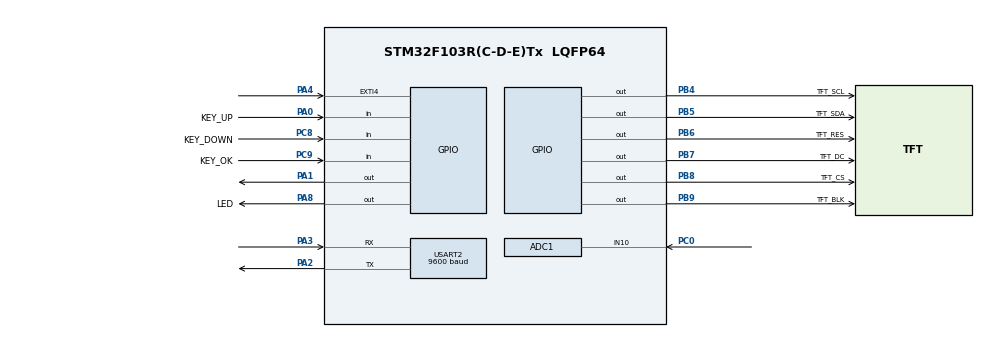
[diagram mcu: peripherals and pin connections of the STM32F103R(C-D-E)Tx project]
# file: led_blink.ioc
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ADC1.Channel-0\#ChannelRegularConversion=ADC_CHANNEL_10
ADC1.NbrOfConversionFlag=1
ADC1.Rank-0\#ChannelRegularConversion=1
ADC1.SamplingTime-0\#ChannelRegularConversion=ADC_SAMPLETIME_239CYCLES_5
ADC1.master=1
Mcu.Family=STM32F1
Mcu.Name=STM32F103R(C-D-E)Tx
Mcu.Package=LQFP64
NVIC.EXTI4_IRQn=true\:0\:0\:false\:false\:true\:true\:true\:true
NVIC.PriorityGroup=NVIC_PRIORITYGROUP_4
PA0.GPIO_Label=KEY_UP
PA0.GPIO_PuPd=GPIO_PULLUP
PA0.Signal=GPIO_Input
PA1.Signal=GPIO_Output
PA2.Mode=Asynchronous
PA2.Signal=USART2_TX
PA3.Mode=Asynchronous
PA3.Signal=USART2_RX
PA4.GPIO_ModeDefaultEXTI=GPIO_MODE_IT_RISING_FALLING
PA4.GPIO_PuPd=GPIO_NOPULL
PA4.Signal=GPXTI4
PA8.GPIO_Label=LED
PA8.Signal=GPIO_Output
PB4.GPIO_Label=TFT_SCL
PB4.Signal=GPIO_Output
PB5.GPIO_Label=TFT_SDA
PB5.Signal=GPIO_Output
PB6.GPIO_Label=TFT_RES
PB6.Signal=GPIO_Output
PB7.GPIO_Label=TFT_DC
PB7.Signal=GPIO_Output
PB8.GPIO_Label=TFT_CS
PB8.Signal=GPIO_Output
PB9.GPIO_Label=TFT_BLK
PB9.Signal=GPIO_Output
PC0.Signal=ADCx_IN10
PC8.GPIO_Label=KEY_DOWN
PC8.GPIO_PuPd=GPIO_PULLUP
PC8.Signal=GPIO_Input
PC9.GPIO_Label=KEY_OK
PC9.GPIO_PuPd=GPIO_PULLUP
PC9.Signal=GPIO_Input
ProjectManager.HeapSize=0x200
ProjectManager.StackSize=0x400
ProjectManager.TargetToolchain=CMake
RCC.APB1Freq_Value=8000000
RCC.APB2Freq_Value=8000000
SH.ADCx_IN10.0=ADC1_IN10,IN10
TIM2.Prescaler=7
USART2.BaudRate=9600
USART2.VirtualMode=VM_ASYNC
VP_SYS_VS_ND.Mode=No_Debug
VP_TIM2_VS_ClockSourceINT.Mode=Internal
board=custom

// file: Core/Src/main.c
/* USER CODE BEGIN Header */
/**
  ******************************************************************************
  * @file           : main.c
  * @brief          : Main program body
  ******************************************************************************
  * @attention
  *
  * Copyright (c) 2026 STMicroelectronics.
  * All rights reserved.
  *
  * This software is licensed under terms that can be found in the LICENSE file
  * in the root directory of this software component.
  * If no LICENSE file comes with this software, it is provided AS-IS.
  *
  ******************************************************************************
  */
/* USER CODE END Header */
#include "main.h"

/* USER CODE BEGIN Includes */
#include "st7735.h"
#include "ui_menu.h"
#include <stdio.h>
#include <string.h>

/* USER CODE END Includes */

/* USER CODE BEGIN PD */
#define WATER_ALARM_THRESHOLD  1000U
#define WATER_SAMPLE_COUNT     8U
#define VIBRATION_HOLD_MS      5000U
#define HMI_KEY_PRESSED         GPIO_PIN_RESET
#define HMI_LONG_PRESS_MS       700U
#define DHT11_SAMPLE_INTERVAL_MS 2000U
#define BLUETOOTH_SEND_INTERVAL_MS 2000U
#define UI_REFRESH_INTERVAL_MS  50U
#define MAIN_LOOP_DELAY_MS      20U
/* USER CODE END PD */

ADC_HandleTypeDef hadc1;

TIM_HandleTypeDef htim2;

UART_HandleTypeDef huart2;

/* USER CODE BEGIN PV */
static volatile uint32_t vibration_alarm_until = 0U;
/* USER CODE END PV */

void SystemClock_Config(void);
static void MX_GPIO_Init(void);
static void MX_TIM2_Init(void);
static void MX_ADC1_Init(void);
static void MX_USART2_UART_Init(void);

/* USER CODE BEGIN 0 */
static void DHT11_DelayUs(uint16_t us)
{
  __HAL_TIM_SET_COUNTER(&htim2, 0);
  while (__HAL_TIM_GET_COUNTER(&htim2) < us) {}
}

static void DHT11_SetOutput(void)
{
  GPIO_InitTypeDef GPIO_InitStruct = {0};

  GPIO_InitStruct.Pin = GPIO_PIN_1;
  GPIO_InitStruct.Mode = GPIO_MODE_OUTPUT_OD;
  GPIO_InitStruct.Pull = GPIO_NOPULL;
  GPIO_InitStruct.Speed = GPIO_SPEED_FREQ_LOW;
  HAL_GPIO_Init(GPIOA, &GPIO_InitStruct);
}

static void DHT11_SetInput(void)
{
  GPIO_InitTypeDef GPIO_InitStruct = {0};

  GPIO_InitStruct.Pin = GPIO_PIN_1;
  GPIO_InitStruct.Mode = GPIO_MODE_INPUT;
  GPIO_InitStruct.Pull = GPIO_NOPULL;
  HAL_GPIO_Init(GPIOA, &GPIO_InitStruct);
}

static uint8_t DHT11_WaitFor(GPIO_PinState state, uint16_t timeout_us)
{
  __HAL_TIM_SET_COUNTER(&htim2, 0);

  while (HAL_GPIO_ReadPin(GPIOA, GPIO_PIN_1) != state)
  {
    if (__HAL_TIM_GET_COUNTER(&htim2) >= timeout_us)
    {
      return 0;
    }
  }
  return 1;
}

static uint8_t DHT11_Read(uint8_t *temperature, uint8_t *humidity)
{
  uint8_t data[5] = {0};
  uint8_t i, j;

  DHT11_SetOutput();
  HAL_GPIO_WritePin(GPIOA, GPIO_PIN_1, GPIO_PIN_RESET);
  HAL_Delay(20);
  HAL_GPIO_WritePin(GPIOA, GPIO_PIN_1, GPIO_PIN_SET);
  DHT11_DelayUs(30);
  DHT11_SetInput();

  if (!DHT11_WaitFor(GPIO_PIN_RESET, 150)) return 0;
  if (!DHT11_WaitFor(GPIO_PIN_SET,   150)) return 0;
  if (!DHT11_WaitFor(GPIO_PIN_RESET, 150)) return 0;

  for (i = 0; i < 5; i++)
  {
    for (j = 0; j < 8; j++)
    {
      if (!DHT11_WaitFor(GPIO_PIN_SET, 100)) return 0;

      DHT11_DelayUs(40);
      if (HAL_GPIO_ReadPin(GPIOA, GPIO_PIN_1) == GPIO_PIN_SET)
      {
        data[i] |= (1 << (7 - j));
      }

      if (!DHT11_WaitFor(GPIO_PIN_RESET, 100)) return 0;
    }
  }

  if (data[4] != (uint8_t)(data[0] + data[1] + data[2] + data[3]))
  {
    return 0;
  }

  *humidity = data[0];
  *temperature = data[2];
  return 1;
}

static uint8_t Water_ReadRaw(uint16_t *water_raw)
{
  uint32_t sum = 0;
  uint8_t valid_samples = 0;
  uint8_t i;

  for (i = 0; i < WATER_SAMPLE_COUNT; i++)
  {
    if (HAL_ADC_Start(&hadc1) != HAL_OK)
    {
      continue;
    }

    if (HAL_ADC_PollForConversion(&hadc1, 10) == HAL_OK)
    {
      sum += HAL_ADC_GetValue(&hadc1);
      valid_samples++;
    }

    HAL_ADC_Stop(&hadc1);
  }

  if (valid_samples == 0U)
  {
    *water_raw = 0U;
    return 0U;
  }

  *water_raw = (uint16_t)(sum / valid_samples);
  return 1U;
}

static void Bluetooth_SendTelemetry(uint8_t temperature,
                                    uint8_t humidity,
                                    uint16_t water_raw,
                                    uint8_t dht_ok,
                                    uint8_t water_ok,
                                    uint8_t vibration_alarm)
{
  char json[512];
  int length;
  static uint32_t telemetry_sequence = 0U;

  telemetry_sequence++;

  length = snprintf(
    json, sizeof(json),
    "{\"schema\":\"ut.telemetry.v1\",\"seq\":%lu,"
    "\"readings\":["
    "{\"assetCode\":\"ENV-01\",\"metric\":\"temperature\","
    "\"value\":%u,\"unit\":\"degC\",\"quality\":\"%s\"},"
    "{\"assetCode\":\"ENV-01\",\"metric\":\"humidity\","
    "\"value\":%u,\"unit\":\"%%RH\",\"quality\":\"%s\"},"
    "{\"assetCode\":\"SEEP-W01\",\"metric\":\"water.raw\","
    "\"value\":%u,\"unit\":\"adc\",\"quality\":\"%s\"},"
    "{\"assetCode\":\"CTRL-01\",\"metric\":\"vibration.alarm\","
    "\"value\":%u,\"unit\":\"bool\",\"quality\":\"good\"}"
    "]}\r\n",
    (unsigned long)telemetry_sequence,
    temperature, dht_ok ? "good" : "bad",
    humidity, dht_ok ? "good" : "bad",
    water_raw, water_ok ? "good" : "missing", vibration_alarm
  );

  if ((length > 0) && (length < (int)sizeof(json)))
  {
    (void)HAL_UART_Transmit(&huart2, (uint8_t *)json, (uint16_t)length, 1000U);
  }

}

/*
 * Temporary board-key adapter. PA0/PC8/PC9 are the exposed K2/K3/K4 keys on
 * this board. When the joystick is wired, replace only this adapter with the
 * joystick GPIO/ADC reader; the UI menu continues to use UiInput unchanged.
 */
static UiInput HMI_ReadInput(void)
{
  static uint8_t up_latched;
  static uint8_t down_latched;
  static uint8_t ok_latched;
  static uint32_t ok_pressed_at;

  if (HAL_GPIO_ReadPin(GPIOA, GPIO_PIN_0) == HMI_KEY_PRESSED)
  {
    if (!up_latched)
    {
      up_latched = 1U;
      return UI_INPUT_UP;
    }
  }
  else
  {
    up_latched = 0U;
  }

  if (HAL_GPIO_ReadPin(GPIOC, GPIO_PIN_8) == HMI_KEY_PRESSED)
  {
    if (!down_latched)
    {
      down_latched = 1U;
      return UI_INPUT_DOWN;
    }
  }
  else
  {
    down_latched = 0U;
  }

  if (HAL_GPIO_ReadPin(GPIOC, GPIO_PIN_9) == HMI_KEY_PRESSED)
  {
    if (!ok_latched)
    {
      ok_latched = 1U;
      ok_pressed_at = HAL_GetTick();
    }
  }
  else if (ok_latched)
  {
    ok_latched = 0U;
    return ((HAL_GetTick() - ok_pressed_at) >= HMI_LONG_PRESS_MS) ? UI_INPUT_BACK : UI_INPUT_OK;
  }

  return UI_INPUT_NONE;
}

#if 0
/* Previous local TFT implementation kept here temporarily for comparison.
 * The active implementation is the verified external st7735.c driver. */
/* 1.44-inch 128x128 TFT (ST7735S, board OLED/TFT socket)
 * Socket mapping: SCL=PB4, SDA=PB5, RES=PB6, DC=PB7, CS=PB8, BLK=PB9.
 * These are not SPI2 pins, therefore the display uses software SPI here. */
#define TFT_CS_LOW()   HAL_GPIO_WritePin(GPIOB, GPIO_PIN_8, GPIO_PIN_RESET)
#define TFT_CS_HIGH()  HAL_GPIO_WritePin(GPIOB, GPIO_PIN_8, GPIO_PIN_SET)
#define TFT_DC_LOW()   HAL_GPIO_WritePin(GPIOB, GPIO_PIN_7, GPIO_PIN_RESET)
#define TFT_DC_HIGH()  HAL_GPIO_WritePin(GPIOB, GPIO_PIN_7, GPIO_PIN_SET)
#define TFT_RST_LOW()  HAL_GPIO_WritePin(GPIOB, GPIO_PIN_6, GPIO_PIN_RESET)
#define TFT_RST_HIGH() HAL_GPIO_WritePin(GPIOB, GPIO_PIN_6, GPIO_PIN_SET)
#define TFT_BLK_HIGH() HAL_GPIO_WritePin(GPIOB, GPIO_PIN_9, GPIO_PIN_SET)

#define TFT_BLACK  0x0000
#define TFT_WHITE  0xFFFF
#define TFT_GREEN  0x07E0
#define TFT_RED    0xF800
#define TFT_CYAN   0x07FF

static void TFT_WriteByte(uint8_t value)
{
  uint8_t bit;

  for (bit = 0; bit < 8; bit++)
  {
    HAL_GPIO_WritePin(GPIOB, GPIO_PIN_4, GPIO_PIN_RESET);
    HAL_GPIO_WritePin(GPIOB, GPIO_PIN_5,
                      (value & 0x80U) ? GPIO_PIN_SET : GPIO_PIN_RESET);
    value <<= 1;
    HAL_GPIO_WritePin(GPIOB, GPIO_PIN_4, GPIO_PIN_SET);
  }
}

static void TFT_WriteCommand(uint8_t command)
{
  TFT_DC_LOW();
  TFT_WriteByte(command);
}

static void TFT_WriteData(const uint8_t *data, uint16_t length)
{
  TFT_DC_HIGH();
  while (length--)
  {
    TFT_WriteByte(*data++);
  }
}

static void TFT_SetAddressWindow(uint8_t x0, uint8_t y0, uint8_t x1, uint8_t y1)
{
  uint8_t data[4];

  TFT_WriteCommand(0x2A);
  data[0] = 0; data[1] = x0 + 2; data[2] = 0; data[3] = x1 + 2;
  TFT_WriteData(data, 4);

  TFT_WriteCommand(0x2B);
  data[0] = 0; data[1] = y0 + 3; data[2] = 0; data[3] = y1 + 3;
  TFT_WriteData(data, 4);
  TFT_WriteCommand(0x2C);
}

static void TFT_FillScreen(uint16_t color)
{
  uint8_t data[64];
  uint16_t i;

  for (i = 0; i < sizeof(data); i += 2)
  {
    data[i] = color >> 8;
    data[i + 1] = color & 0xFF;
  }

  TFT_SetAddressWindow(0, 0, 127, 127);
  TFT_DC_HIGH();
  for (i = 0; i < 512; i++)
  {
    uint8_t j;
    for (j = 0; j < sizeof(data); j++) TFT_WriteByte(data[j]);
  }
}

static uint8_t TFT_Glyph(char ch, uint8_t column)
{
  static const uint8_t digits[10][5] = {
    {0x3E, 0x51, 0x49, 0x45, 0x3E}, {0x00, 0x42, 0x7F, 0x40, 0x00},
    {0x42, 0x61, 0x51, 0x49, 0x46}, {0x21, 0x41, 0x45, 0x4B, 0x31},
    {0x18, 0x14, 0x12, 0x7F, 0x10}, {0x27, 0x45, 0x45, 0x45, 0x39},
    {0x3C, 0x4A, 0x49, 0x49, 0x30}, {0x01, 0x71, 0x09, 0x05, 0x03},
    {0x36, 0x49, 0x49, 0x49, 0x36}, {0x06, 0x49, 0x49, 0x29, 0x1E}
  };
  static const uint8_t t[5] = {0x01, 0x01, 0x7F, 0x01, 0x01};
  static const uint8_t h[5] = {0x7F, 0x08, 0x04, 0x04, 0x78};
  static const uint8_t c[5] = {0x3E, 0x41, 0x41, 0x41, 0x22};
  static const uint8_t e[5] = {0x38, 0x54, 0x54, 0x54, 0x18};
  static const uint8_t r[5] = {0x7C, 0x08, 0x04, 0x04, 0x08};
  static const uint8_t percent[5] = {0x62, 0x64, 0x08, 0x13, 0x23};
  static const uint8_t colon[5] = {0x00, 0x36, 0x36, 0x00, 0x00};
  static const uint8_t space[5] = {0, 0, 0, 0, 0};

  if (ch >= '0' && ch <= '9') return digits[ch - '0'][column];
  if (ch == 'T') return t[column];
  if (ch == 'H') return h[column];
  if (ch == 'C') return c[column];
  if (ch == 'E') return e[column];
  if (ch == 'R') return r[column];
  if (ch == '%') return percent[column];
  if (ch == ':') return colon[column];
  return space[column];
}

static void TFT_DrawChar(uint8_t x, uint8_t y, char ch, uint16_t color, uint8_t scale)
{
  uint8_t column, row, dx, dy, pixel[2];

  pixel[0] = color >> 8;
  pixel[1] = color & 0xFF;
  for (column = 0; column < 5; column++)
  {
    uint8_t bits = TFT_Glyph(ch, column);
    for (row = 0; row < 7; row++)
    {
      if ((bits >> row) & 1U)
      {
        TFT_SetAddressWindow(x + column * scale, y + row * scale,
                             x + column * scale + scale - 1, y + row * scale + scale - 1);
        TFT_DC_HIGH();
        for (dx = 0; dx < scale; dx++)
          for (dy = 0; dy < scale; dy++)
          {
            TFT_WriteByte(pixel[0]);
            TFT_WriteByte(pixel[1]);
          }
      }
    }
  }
}

static void TFT_Print(uint8_t x, uint8_t y, const char *text, uint16_t color, uint8_t scale)
{
  while (*text != '\0')
  {
    TFT_DrawChar(x, y, *text++, color, scale);
    x += 6 * scale;
  }
}

static void TFT_Init(void)
{
  static const uint8_t frmctr[] = {0x01, 0x2C, 0x2D};
  static const uint8_t frmctr3[] = {0x01, 0x2C, 0x2D, 0x01, 0x2C, 0x2D};
  static const uint8_t pwctr1[] = {0xA2, 0x02, 0x84};
  static const uint8_t pwctr3[] = {0x0A, 0x00};
  static const uint8_t pwctr4[] = {0x8A, 0x2A};
  static const uint8_t pwctr5[] = {0x8A, 0xEE};
  static const uint8_t value_07[] = {0x07};
  static const uint8_t value_c5[] = {0xC5};
  static const uint8_t value_0e[] = {0x0E};
  static const uint8_t madctl[] = {0xC8};
  static const uint8_t color_mode[] = {0x05};

  /* The verified board driver keeps CS asserted for the whole session. */
  TFT_CS_LOW();
  TFT_DC_HIGH();
  TFT_BLK_HIGH();
  TFT_RST_LOW();  HAL_Delay(20);
  TFT_RST_HIGH(); HAL_Delay(120);
  TFT_WriteCommand(0x01); HAL_Delay(150);       /* SWRESET */
  TFT_WriteCommand(0x11); HAL_Delay(120);       /* SLPOUT  */
  TFT_WriteCommand(0xB1); TFT_WriteData(frmctr, 3);
  TFT_WriteCommand(0xB2); TFT_WriteData(frmctr, 3);
  TFT_WriteCommand(0xB3); TFT_WriteData(frmctr3, 6);
  TFT_WriteCommand(0xB4); TFT_WriteData(value_07, 1);
  TFT_WriteCommand(0xC0); TFT_WriteData(pwctr1, 3);
  TFT_WriteCommand(0xC1); TFT_WriteData(value_c5, 1);
  TFT_WriteCommand(0xC2); TFT_WriteData(pwctr3, 2);
  TFT_WriteCommand(0xC3); TFT_WriteData(pwctr4, 2);
  TFT_WriteCommand(0xC4); TFT_WriteData(pwctr5, 2);
  TFT_WriteCommand(0xC5); TFT_WriteData(value_0e, 1);
  TFT_WriteCommand(0x20);                         /* INVOFF */
  TFT_WriteCommand(0x36); TFT_WriteData(madctl, 1);
  TFT_WriteCommand(0x3A); TFT_WriteData(color_mode, 1);
  TFT_WriteCommand(0x13);                         /* NORON  */
  TFT_WriteCommand(0x29); HAL_Delay(100);         /* DISPON */
}

static void TFT_ShowValues(uint8_t temperature, uint8_t humidity)
{
  char temperature_text[] = {'T', ':', '0' + temperature / 10,
                             '0' + temperature % 10, 'C', '\0'};
  char humidity_text[] = {'H', ':', '0' + humidity / 10,
                          '0' + humidity % 10, '%', '\0'};

  TFT_FillScreen(TFT_BLACK);
  TFT_Print(16, 30, temperature_text, TFT_GREEN, 3);
  TFT_Print(16, 75, humidity_text, TFT_CYAN, 3);
}

/* Visual wiring check: the backlight must blink three times after reset. */
static void TFT_BacklightTest(void)
{
  uint8_t i;
  for (i = 0; i < 3; i++)
  {
    HAL_GPIO_WritePin(GPIOB, GPIO_PIN_9, GPIO_PIN_SET);
    HAL_Delay(300);
    HAL_GPIO_WritePin(GPIOB, GPIO_PIN_9, GPIO_PIN_RESET);
    HAL_Delay(300);
  }
  TFT_BLK_HIGH();
}
#endif

/* The original raw value view is retained as reference; UI_Menu now renders
 * the operational dashboard and menus. */
#if 0
static void LCD_ShowValues(uint8_t temperature, uint8_t humidity,
                           uint16_t water_raw, uint8_t dht_ok,
                           uint8_t water_ok,
                           uint8_t vibration_alarm)
{
  char temperature_text[] = {'T', ':', '0' + temperature / 10,
                             '0' + temperature % 10, 'C', ' ', ' ', ' ',
                             ' ', ' ', ' ', '\0'};
  char humidity_text[] = {'H', ':', '0' + humidity / 10,
                          '0' + humidity % 10, '%', ' ', ' ', ' ',
                          ' ', ' ', ' ', '\0'};
  char water_text[] = {'W', ':',
                       '0' + (water_raw / 1000U) % 10U,
                       '0' + (water_raw / 100U) % 10U,
                       '0' + (water_raw / 10U) % 10U,
                       '0' + water_raw % 10U, ' ', ' ', ' ', ' ', ' ', '\0'};

  if (dht_ok)
  {
    ST7735_DrawString(8, 16, temperature_text, LCD_GREEN, LCD_BLACK);
    ST7735_DrawString(8, 40, humidity_text, LCD_CYAN, LCD_BLACK);
  }
  else
  {
    ST7735_DrawString(8, 16, "DHT ERR    ", LCD_RED, LCD_BLACK);
    ST7735_DrawString(8, 40, "           ", LCD_BLACK, LCD_BLACK);
  }

  if (!water_ok)
  {
    ST7735_DrawString(8, 64, "W: SENSOR ERR", LCD_RED, LCD_BLACK);
    ST7735_DrawString(8, 88, "WATER UNKNOWN", LCD_RED, LCD_BLACK);
  }
  else if (water_raw >= WATER_ALARM_THRESHOLD)
  {
    ST7735_DrawString(8, 64, water_text, LCD_WHITE, LCD_BLACK);
    ST7735_DrawString(8, 88, "WATER ALARM", LCD_RED, LCD_BLACK);
  }
  else
  {
    ST7735_DrawString(8, 64, water_text, LCD_WHITE, LCD_BLACK);
    ST7735_DrawString(8, 88, "WATER OK   ", LCD_GREEN, LCD_BLACK);
  }

  if (vibration_alarm)
  {
    ST7735_DrawString(8, 108, "VIB ALARM  ", LCD_RED, LCD_BLACK);
  }
  else
  {
    ST7735_DrawString(8, 108, "VIB OK     ", LCD_GREEN, LCD_BLACK);
  }
}
#endif
/* USER CODE END 0 */

int main(void)
{

  /* MCU Configuration--------------------------------------------------------*/

  /* Reset of all peripherals, Initializes the Flash interface and the Systick. */
  HAL_Init();

  /* Configure the system clock */
  SystemClock_Config();

  /* Initialize all configured peripherals */
  MX_GPIO_Init();
  MX_TIM2_Init();
  MX_ADC1_Init();
  MX_USART2_UART_Init();
  /* USER CODE BEGIN 2 */
  if (HAL_ADCEx_Calibration_Start(&hadc1) != HAL_OK)
  {
    Error_Handler();
  }
  {
    GPIO_InitTypeDef TFT_GPIO = {0};
    TFT_GPIO.Pin = GPIO_PIN_4 | GPIO_PIN_5 | GPIO_PIN_6 |
                   GPIO_PIN_7 | GPIO_PIN_8 | GPIO_PIN_9;
    TFT_GPIO.Mode = GPIO_MODE_OUTPUT_PP;
    TFT_GPIO.Pull = GPIO_NOPULL;
    TFT_GPIO.Speed = GPIO_SPEED_FREQ_HIGH;
    HAL_GPIO_Init(GPIOB, &TFT_GPIO);
    HAL_GPIO_WritePin(GPIOB, TFT_GPIO.Pin, GPIO_PIN_RESET);
  }
  HAL_TIM_Base_Start(&htim2);
  ST7735_Init();
  UI_MenuInit();
  uint8_t temperature = 0;
  uint8_t humidity = 0;
  uint8_t dht_ok = 0;
  uint32_t last_dht_read = HAL_GetTick() - DHT11_SAMPLE_INTERVAL_MS;
  uint32_t last_bluetooth_send = HAL_GetTick() - BLUETOOTH_SEND_INTERVAL_MS;
  uint32_t last_ui_update = HAL_GetTick() - UI_REFRESH_INTERVAL_MS;
  /* USER CODE END 2 */

  /* Infinite loop */
  while (1)
  {

    /* USER CODE BEGIN 3 */
    uint16_t water_raw;
    uint8_t water_ok;
    uint8_t vibration_alarm;

    if ((HAL_GetTick() - last_dht_read) >= DHT11_SAMPLE_INTERVAL_MS)
    {
      dht_ok = DHT11_Read(&temperature, &humidity);
      last_dht_read = HAL_GetTick();
      if (dht_ok)
      {
        HAL_GPIO_TogglePin(GPIOA, GPIO_PIN_8);
      }
    }

    water_ok = Water_ReadRaw(&water_raw);
    vibration_alarm = ((int32_t)(vibration_alarm_until - HAL_GetTick()) > 0) ? 1U : 0U;
    if ((HAL_GetTick() - last_ui_update) >= UI_REFRESH_INTERVAL_MS)
    {
      UiTelemetry uiTelemetry = {
        .temperature = temperature,
        .humidity = humidity,
        .waterRaw = water_raw,
        .dhtOk = dht_ok,
        .vibrationAlarm = vibration_alarm,
        .telemetryTxEnabled = 1U,
      };
      UI_MenuSetTelemetry(&uiTelemetry);
      last_ui_update = HAL_GetTick();
    }

    UI_MenuHandleInput(HMI_ReadInput());
    UI_MenuTick(HAL_GetTick());

    if ((HAL_GetTick() - last_bluetooth_send) >= BLUETOOTH_SEND_INTERVAL_MS)
    {
      Bluetooth_SendTelemetry(temperature, humidity, water_raw,
                              dht_ok, water_ok, vibration_alarm);
      last_bluetooth_send = HAL_GetTick();
    }
    HAL_Delay(MAIN_LOOP_DELAY_MS);
  }
  /* USER CODE END 3 */
}

void SystemClock_Config(void)
{
  RCC_OscInitTypeDef RCC_OscInitStruct = {0};
  RCC_ClkInitTypeDef RCC_ClkInitStruct = {0};
  RCC_PeriphCLKInitTypeDef PeriphClkInit = {0};

  /** Initializes the RCC Oscillators according to the specified parameters
  * in the RCC_OscInitTypeDef structure.
  */
  RCC_OscInitStruct.OscillatorType = RCC_OSCILLATORTYPE_HSI;
  RCC_OscInitStruct.HSIState = RCC_HSI_ON;
  RCC_OscInitStruct.HSICalibrationValue = RCC_HSICALIBRATION_DEFAULT;
  RCC_OscInitStruct.PLL.PLLState = RCC_PLL_NONE;
  if (HAL_RCC_OscConfig(&RCC_OscInitStruct) != HAL_OK)
  {
    Error_Handler();
  }

  /** Initializes the CPU, AHB and APB buses clocks
  */
  RCC_ClkInitStruct.ClockType = RCC_CLOCKTYPE_HCLK|RCC_CLOCKTYPE_SYSCLK
                              |RCC_CLOCKTYPE_PCLK1|RCC_CLOCKTYPE_PCLK2;
  RCC_ClkInitStruct.SYSCLKSource = RCC_SYSCLKSOURCE_HSI;
  RCC_ClkInitStruct.AHBCLKDivider = RCC_SYSCLK_DIV1;
  RCC_ClkInitStruct.APB1CLKDivider = RCC_HCLK_DIV1;
  RCC_ClkInitStruct.APB2CLKDivider = RCC_HCLK_DIV1;

  if (HAL_RCC_ClockConfig(&RCC_ClkInitStruct, FLASH_LATENCY_0) != HAL_OK)
  {
    Error_Handler();
  }
  PeriphClkInit.PeriphClockSelection = RCC_PERIPHCLK_ADC;
  PeriphClkInit.AdcClockSelection = RCC_ADCPCLK2_DIV2;
  if (HAL_RCCEx_PeriphCLKConfig(&PeriphClkInit) != HAL_OK)
  {
    Error_Handler();
  }
}

static void MX_ADC1_Init(void)
{

  ADC_ChannelConfTypeDef sConfig = {0};

  /** Common config
  */
  hadc1.Instance = ADC1;
  hadc1.Init.ScanConvMode = ADC_SCAN_DISABLE;
  hadc1.Init.ContinuousConvMode = DISABLE;
  hadc1.Init.DiscontinuousConvMode = DISABLE;
  hadc1.Init.ExternalTrigConv = ADC_SOFTWARE_START;
  hadc1.Init.DataAlign = ADC_DATAALIGN_RIGHT;
  hadc1.Init.NbrOfConversion = 1;
  if (HAL_ADC_Init(&hadc1) != HAL_OK)
  {
    Error_Handler();
  }

  /** Configure Regular Channel
  */
  sConfig.Channel = ADC_CHANNEL_10;
  sConfig.Rank = ADC_REGULAR_RANK_1;
  sConfig.SamplingTime = ADC_SAMPLETIME_239CYCLES_5;
  if (HAL_ADC_ConfigChannel(&hadc1, &sConfig) != HAL_OK)
  {
    Error_Handler();
  }

}

static void MX_USART2_UART_Init(void)
{
  huart2.Instance = USART2;
  huart2.Init.BaudRate = 9600;
  huart2.Init.WordLength = UART_WORDLENGTH_8B;
  huart2.Init.StopBits = UART_STOPBITS_1;
  huart2.Init.Parity = UART_PARITY_NONE;
  huart2.Init.Mode = UART_MODE_TX_RX;
  huart2.Init.HwFlowCtl = UART_HWCONTROL_NONE;
  huart2.Init.OverSampling = UART_OVERSAMPLING_16;
  if (HAL_UART_Init(&huart2) != HAL_OK)
  {
    Error_Handler();
  }
}

static void MX_TIM2_Init(void)
{

  TIM_ClockConfigTypeDef sClockSourceConfig = {0};
  TIM_MasterConfigTypeDef sMasterConfig = {0};

  htim2.Instance = TIM2;
  htim2.Init.Prescaler = 7;
  htim2.Init.CounterMode = TIM_COUNTERMODE_UP;
  htim2.Init.Period = 65535;
  htim2.Init.ClockDivision = TIM_CLOCKDIVISION_DIV1;
  htim2.Init.AutoReloadPreload = TIM_AUTORELOAD_PRELOAD_DISABLE;
  if (HAL_TIM_Base_Init(&htim2) != HAL_OK)
  {
    Error_Handler();
  }
  sClockSourceConfig.ClockSource = TIM_CLOCKSOURCE_INTERNAL;
  if (HAL_TIM_ConfigClockSource(&htim2, &sClockSourceConfig) != HAL_OK)
  {
    Error_Handler();
  }
  sMasterConfig.MasterOutputTrigger = TIM_TRGO_RESET;
  sMasterConfig.MasterSlaveMode = TIM_MASTERSLAVEMODE_DISABLE;
  if (HAL_TIMEx_MasterConfigSynchronization(&htim2, &sMasterConfig) != HAL_OK)
  {
    Error_Handler();
  }

}

static void MX_GPIO_Init(void)
{
  GPIO_InitTypeDef GPIO_InitStruct = {0};

  /* GPIO Ports Clock Enable */
  __HAL_RCC_GPIOC_CLK_ENABLE();
  __HAL_RCC_GPIOA_CLK_ENABLE();
  __HAL_RCC_GPIOB_CLK_ENABLE();

  /*Configure GPIO pin Output Level */
  HAL_GPIO_WritePin(GPIOA, GPIO_PIN_1|LED_Pin, GPIO_PIN_RESET);

  /*Configure GPIO pin Output Level */
  HAL_GPIO_WritePin(GPIOB, TFT_SCL_Pin|TFT_SDA_Pin|TFT_RES_Pin|TFT_DC_Pin
                          |TFT_CS_Pin|TFT_BLK_Pin, GPIO_PIN_RESET);

  /*Configure GPIO pins : PA1 LED_Pin */
  GPIO_InitStruct.Pin = GPIO_PIN_1|LED_Pin;
  GPIO_InitStruct.Mode = GPIO_MODE_OUTPUT_PP;
  GPIO_InitStruct.Pull = GPIO_NOPULL;
  GPIO_InitStruct.Speed = GPIO_SPEED_FREQ_LOW;
  HAL_GPIO_Init(GPIOA, &GPIO_InitStruct);

  /* Configure board keys K2/K3/K4 as temporary HMI Up/Down/OK inputs. */
  GPIO_InitStruct.Pin = GPIO_PIN_0;
  GPIO_InitStruct.Mode = GPIO_MODE_INPUT;
  GPIO_InitStruct.Pull = GPIO_PULLUP;
  HAL_GPIO_Init(GPIOA, &GPIO_InitStruct);

  GPIO_InitStruct.Pin = GPIO_PIN_8|GPIO_PIN_9;
  GPIO_InitStruct.Mode = GPIO_MODE_INPUT;
  GPIO_InitStruct.Pull = GPIO_PULLUP;
  HAL_GPIO_Init(GPIOC, &GPIO_InitStruct);

  /*Configure GPIO pin : PA4 */
  GPIO_InitStruct.Pin = GPIO_PIN_4;
  GPIO_InitStruct.Mode = GPIO_MODE_IT_RISING_FALLING;
  GPIO_InitStruct.Pull = GPIO_NOPULL;
  HAL_GPIO_Init(GPIOA, &GPIO_InitStruct);

  /*Configure GPIO pins : TFT_SCL_Pin TFT_SDA_Pin TFT_RES_Pin TFT_DC_Pin
                           TFT_CS_Pin TFT_BLK_Pin */
  GPIO_InitStruct.Pin = TFT_SCL_Pin|TFT_SDA_Pin|TFT_RES_Pin|TFT_DC_Pin
                          |TFT_CS_Pin|TFT_BLK_Pin;
  GPIO_InitStruct.Mode = GPIO_MODE_OUTPUT_PP;
  GPIO_InitStruct.Pull = GPIO_NOPULL;
  GPIO_InitStruct.Speed = GPIO_SPEED_FREQ_LOW;
  HAL_GPIO_Init(GPIOB, &GPIO_InitStruct);

  /* EXTI interrupt init*/
  HAL_NVIC_SetPriority(EXTI4_IRQn, 0, 0);
  HAL_NVIC_EnableIRQ(EXTI4_IRQn);

}

/* USER CODE BEGIN 4 */

void HAL_GPIO_EXTI_Callback(uint16_t GPIO_Pin)
{
  if (GPIO_Pin == GPIO_PIN_4)
  {
    vibration_alarm_until = HAL_GetTick() + VIBRATION_HOLD_MS;
  }
}

/* USER CODE END 4 */

void Error_Handler(void)
{
  __disable_irq();
  while (1)
  {
  }
}
